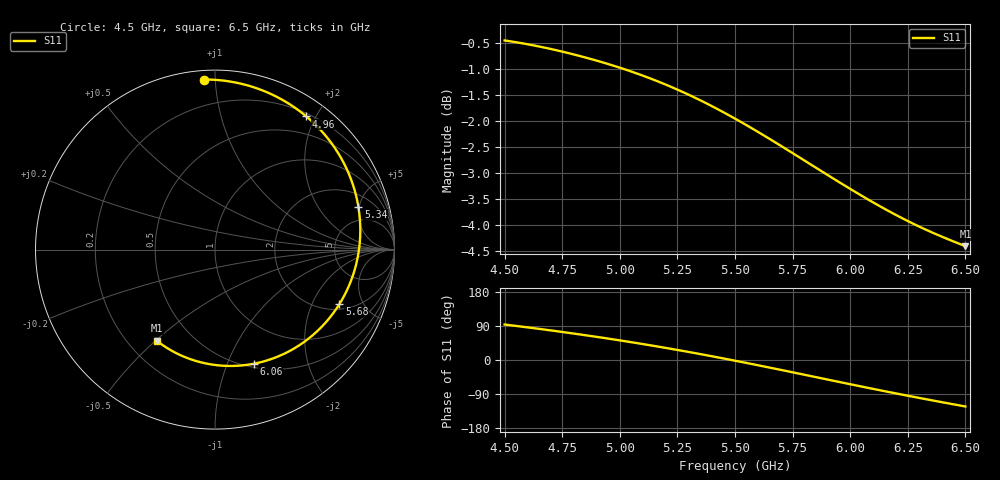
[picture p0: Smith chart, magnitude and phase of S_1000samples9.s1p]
! TOUCHSTONE file generated by CST MICROWAVE STUDIO
! Date and time: Wed Oct 26 16:32:33 2022
! Project name: L.cst
! Parameters = {Di=1.27; Epsilon_r=1.56; InnerDiameter=1.27; Length=2; Lf=10; Lg=60; OuterConductorThickness=0.2921; OuterDiameter=3.6; Wf=3; Wp=41.2; de=1.5; df=6.8; g=0.8; gx=4.01684; gy=3.82183; h=2.34; hf=1.524; px=12.5153; py=11.9695; w=9.7; wx=8.4985; wy=8.14766}
! Header version: 2018
! Port assignment regex: !\s*Touchstone port\s*([0-9]+)\s*=\s*(CST MWS port|CST DS port)\s*([0-9]+|Zmin|Zmax)\s*\(\"(.*)\"\)(\s*mode\s*([0-9]+))?.*
! Touchstone port assignment:
! Touchstone port 1 = CST MWS port 1 ("")
# GHz S DB R 50
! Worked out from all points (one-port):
!   101 points, 4.5 GHz to 6.5 GHz, reference 50 ohm
!   lowest |S11| = -4.4 dB at 6.5 GHz (marker M1), VSWR 4.03, Z = 15.8 - j25.2 ohm
!   |S11| at or under -10 dB: nowhere
!   S11 on the Smith chart (normalised r, x): 4.5 GHz: 0.05, +0.94; 4.96 GHz: 0.24, +1.88; 5.34 GHz: 3.13, +4.90; 5.68 GHz: 2.28, -3.25; 6.06 GHz: 0.54, -1.25; 6.5 GHz: 0.32, -0.50
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4.5  -0.45 93.7
4.58  -0.51 87.6
4.64  -0.56 82.9
4.76  -0.68 73.1
4.86  -0.79 64.6
4.96  -0.92 55.5
5  -0.97 51.8
5.06  -1.06 46.0
5.14  -1.19 38.0
5.2  -1.30 31.8
5.26  -1.41 25.4
5.34  -1.58 16.6
5.42  -1.76 7.5
5.5  -1.95 -1.8
5.58  -2.16 -11.4
5.62  -2.26 -16.3
5.68  -2.42 -23.7
5.76  -2.64 -33.7
5.82  -2.81 -41.3
5.88  -2.97 -48.8
5.94  -3.14 -56.4
6  -3.30 -63.9
6.06  -3.46 -71.4
6.16  -3.71 -83.6
6.26  -3.94 -95.5
6.32  -4.07 -102.4
6.38  -4.19 -109.3
6.5  -4.40 -122.7
